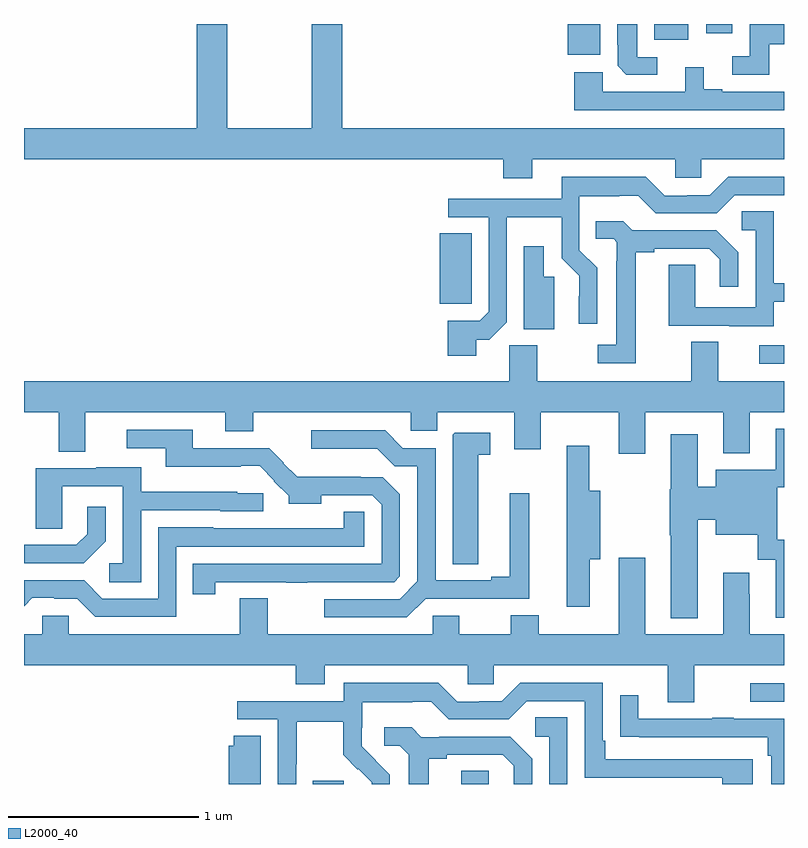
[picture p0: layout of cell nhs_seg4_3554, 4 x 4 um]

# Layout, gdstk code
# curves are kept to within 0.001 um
import gdstk
lib = gdstk.Library(unit=1e-6, precision=1e-09)
def R(c, l, rs):  # rectangles x0, y0, x1, y1
    for r in rs: c.add(gdstk.rectangle(r[:2], r[2:], *l))
def P(c, l, *ps):  # polygons
    for p in ps: c.add(gdstk.Polygon(p, *l))
L2000_40 = (2000, 40)

nhs_seg4_3554 = lib.new_cell('nhs_seg4_3554')
R(nhs_seg4_3554, L2000_40, [(300.521,758.9,300.682,758.917), (301.301,758.9,301.446,758.969), (302.823,759.333,303,759.429), (302.871,761.112,303,761.208), (301.187,761.427,301.357,761.798), (301.862,762.737,302.032,762.9), (302.318,762.816,302.497,762.9), (302.591,762.852,302.728,762.9)])
P(nhs_seg4_3554, L2000_40, [(301.675,762.188),(302.427,762.188),(302.427,762.09),(302.565,762.09),(302.565,762.188),(303,762.188),(303,762.352),(300.674,762.352),(300.674,762.9),(300.514,762.9),(300.514,762.352),(300.069,762.352),(300.069,762.9),(299.909,762.9),(299.909,762.352),(299,762.352),(299,762.188),(301.523,762.188),(301.523,762.089),(301.675,762.089)],
  [(302.332,762.726),(302.227,762.726),(302.227,762.9),(302.123,762.9),(302.123,762.79),(302.124,762.79),(302.124,762.679),(302.17,762.633),(302.332,762.633)],
  [(302.923,762.794),(303,762.794),(303,762.898),(302.819,762.898),(302.819,762.729),(302.727,762.729),(302.727,762.633),(302.923,762.633)],
  [(303,762.543),(302.674,762.543),(302.674,762.556),(302.578,762.556),(302.578,762.673),(302.48,762.673),(302.48,762.543),(302.046,762.543),(302.046,762.646),(301.895,762.646),(301.895,762.447),(303,762.447)],
  [(301.381,761.239),(301.449,761.239),(301.542,761.331),(301.542,761.882),(301.83,761.882),(301.83,761.666),(301.922,761.574),(301.922,761.468),(301.92,761.468),(301.92,761.322),(302.016,761.322),(302.016,761.616),(301.923,761.709),(301.923,761.993),(302.132,761.993),(302.132,761.997),(302.232,761.997),(302.325,761.904),(302.646,761.904),(302.742,762),(303,762),(303,762.096),(302.706,762.096),(302.61,762),(302.49,762),(302.49,761.997),(302.373,761.997),(302.273,762.097),(301.829,762.097),(301.829,761.979),(301.233,761.979),(301.233,761.883),(301.446,761.883),(301.446,761.385),(301.398,761.337),(301.229,761.337),(301.229,761.154),(301.381,761.154)],
  [(302.947,761.438),(303,761.438),(303,761.535),(302.946,761.535),(302.946,761.915),(302.778,761.915),(302.778,761.814),(302.85,761.814),(302.85,761.409),(302.532,761.409),(302.532,761.633),(302.393,761.633),(302.393,761.313),(302.711,761.313),(302.711,761.309),(302.947,761.309)],
  [(302.221,761.698),(302.317,761.698),(302.317,761.718),(302.606,761.718),(302.663,761.661),(302.663,761.517),(302.76,761.517),(302.76,761.698),(302.644,761.814),(302.202,761.814),(302.154,761.861),(302.008,761.861),(302.008,761.769),(302.103,761.769),(302.121,761.751),(302.121,761.651),(302.117,761.651),(302.117,761.211),(302.019,761.211),(302.019,761.115),(302.221,761.115)],
  [(301.792,761.571),(301.735,761.571),(301.735,761.731),(301.631,761.731),(301.631,761.293),(301.792,761.293)],
  [(302.269,760.856),(302.681,760.856),(302.681,760.64),(302.821,760.64),(302.821,760.856),(303,760.856),(303,761.02),(302.653,761.02),(302.653,761.228),(302.513,761.228),(302.513,761.02),(301.701,761.02),(301.701,761.208),(301.554,761.208),(301.554,761.02),(299,761.02),(299,760.856),(299.183,760.856),(299.183,760.648),(299.323,760.648),(299.323,760.856),(300.059,760.856),(300.059,760.757),(300.207,760.757),(300.207,760.856),(301.035,760.856),(301.035,760.758),(301.174,760.758),(301.174,760.856),(301.58,760.856),(301.58,760.662),(301.72,760.662),(301.72,760.856),(302.129,760.856),(302.129,760.638),(302.269,760.638)],
  [(302.545,760.292),(302.642,760.292),(302.642,760.211),(302.861,760.211),(302.861,760.08),(302.957,760.08),(302.957,759.774),(303,759.774),(303,760.185),(302.964,760.185),(302.964,760.461),(303,760.461),(303,760.771),(302.957,760.771),(302.957,760.555),(302.642,760.555),(302.642,760.464),(302.545,760.464),(302.545,760.741),(302.405,760.741),(302.405,760.452),(302.398,760.452),(302.398,760.208),(302.405,760.208),(302.405,759.773),(302.545,759.773)],
  [(300.006,759.963),(300.379,759.963),(300.379,759.958),(300.491,759.958),(300.491,759.963),(300.948,759.963),(300.978,759.993),(300.978,760.425),(300.889,760.514),(300.773,760.514),(300.773,760.516),(300.439,760.516),(300.365,760.589),(300.367,760.591),(300.291,760.668),(299.887,760.668),(299.887,760.764),(299.541,760.764),(299.541,760.668),(299.747,760.668),(299.747,760.571),(300.14,760.571),(300.14,760.574),(300.242,760.574),(300.318,760.497),(300.315,760.494),(300.394,760.416),(300.394,760.376),(300.565,760.376),(300.565,760.419),(300.834,760.419),(300.882,760.371),(300.882,760.059),(299.887,760.059),(299.887,759.9),(300.006,759.9)],
  [(301.114,759.876),(301.66,759.876),(301.66,760.429),(301.556,760.429),(301.556,759.992),(301.46,759.992),(301.46,759.972),(301.167,759.972),(301.167,760.668),(300.993,760.668),(300.9,760.761),(300.513,760.761),(300.513,760.664),(300.859,760.664),(300.95,760.573),(301.071,760.573),(301.071,759.966),(300.978,759.873),(300.579,759.873),(300.579,759.777),(301.015,759.777)],
  [(301.39,760.633),(301.453,760.633),(301.453,760.749),(301.266,760.749),(301.256,760.739),(301.256,760.057),(301.39,760.057)],
  [(301.978,760.082),(302.032,760.082),(302.032,760.444),(301.975,760.444),(301.975,760.681),(301.856,760.681),(301.856,759.834),(301.978,759.834)],
  [(299.616,760.341),(300.033,760.341),(300.033,760.335),(300.258,760.335),(300.258,760.431),(300.123,760.431),(300.123,760.438),(299.617,760.438),(299.617,760.567),(299.381,760.567),(299.381,760.563),(299.063,760.563),(299.063,760.243),(299.202,760.243),(299.202,760.467),(299.52,760.467),(299.52,760.062),(299.448,760.062),(299.448,759.961),(299.616,759.961)],
  [(299.43,760.178),(299.43,760.36),(299.333,760.36),(299.333,760.215),(299.276,760.158),(299,760.158),(299,760.062),(299.314,760.062)],
  [(299.802,760.149),(300.792,760.149),(300.792,760.334),(300.684,760.334),(300.684,760.246),(299.997,760.245),(299.997,760.252),(299.706,760.252),(299.706,759.876),(299.412,759.876),(299.316,759.972),(299,759.972),(299,759.836),(299.043,759.879),(299.16,759.879),(299.16,759.876),(299.28,759.876),(299.376,759.78),(299.802,759.78)],
  [(302.269,760.09),(302.129,760.09),(302.129,759.688),(301.71,759.688),(301.71,759.787),(301.562,759.787),(301.562,759.688),(301.291,759.688),(301.291,759.786),(301.152,759.786),(301.152,759.688),(300.283,759.688),(300.283,759.878),(300.136,759.878),(300.136,759.688),(299.235,759.688),(299.235,759.786),(299.097,759.786),(299.097,759.688),(299,759.688),(299,759.524),(300.431,759.524),(300.431,759.425),(300.583,759.425),(300.583,759.524),(301.335,759.524),(301.335,759.426),(301.473,759.426),(301.473,759.524),(302.387,759.524),(302.387,759.33),(302.527,759.33),(302.527,759.524),(303,759.524),(303,759.688),(302.821,759.688),(302.821,759.899),(302.818,759.899),(302.818,760.012),(302.681,760.012),(302.681,759.688),(302.269,759.688)],
  [(300.432,759.004),(300.435,759.004),(300.435,759.228),(300.679,759.228),(300.679,759.053),(300.756,758.976),(300.759,758.979),(300.83,758.909),(300.83,758.9),(300.924,758.9),(300.924,758.95),(300.778,759.098),(300.778,759.195),(300.78,759.195),(300.78,759.329),(301.043,759.329),(301.043,759.333),(301.143,759.333),(301.236,759.24),(301.551,759.24),(301.647,759.336),(301.95,759.336),(301.95,758.934),(302.675,758.934),(302.675,758.9),(302.836,758.9),(302.836,759.03),(302.059,759.03),(302.059,759.127),(302.046,759.127),(302.046,759.432),(301.611,759.432),(301.515,759.336),(301.397,759.336),(301.397,759.333),(301.281,759.333),(301.181,759.433),(300.684,759.433),(300.684,759.336),(300.123,759.336),(300.123,759.24),(300.336,759.24),(300.336,758.9),(300.432,758.9)],
  [(303,759.243),(302.735,759.243),(302.735,759.248),(302.623,759.248),(302.623,759.243),(302.233,759.243),(302.233,759.367),(302.137,759.367),(302.137,759.148),(302.239,759.148),(302.239,759.147),(302.914,759.147),(302.914,759.05),(302.934,759.05),(302.934,758.9),(303,758.9)],
  [(301.86,759.251),(301.692,759.251),(301.692,759.15),(301.764,759.15),(301.764,758.9),(301.86,758.9)],
  [(301.129,759.032),(301.225,759.032),(301.225,759.054),(301.52,759.054),(301.577,758.997),(301.577,758.9),(301.674,758.9),(301.674,759.034),(301.558,759.15),(301.186,759.15),(301.186,759.147),(301.092,759.147),(301.04,759.199),(300.897,759.199),(300.897,759.102),(300.978,759.102),(301.025,759.055),(301.025,758.9),(301.129,758.9)],
  [(300.247,759.155),(300.104,759.155),(300.104,759.102),(300.077,759.102),(300.077,758.9),(300.247,758.9)])

lib.write_gds('nhs_seg4_3554.gds')
